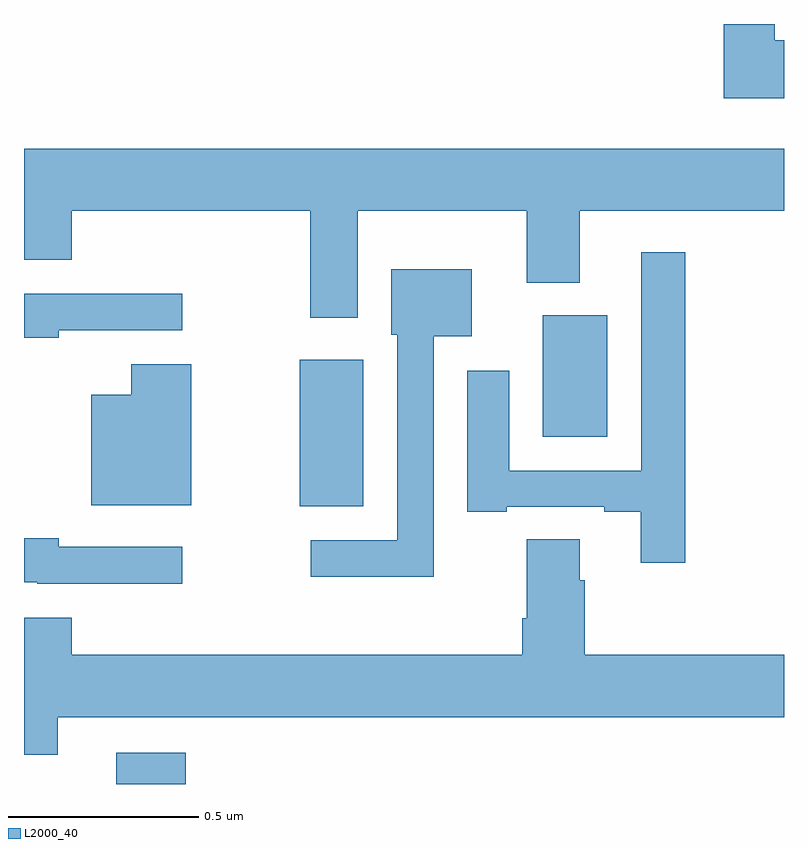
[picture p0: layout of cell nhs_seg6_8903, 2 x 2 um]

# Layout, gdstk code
import gdstk
lib = gdstk.Library(unit=1e-6, precision=1e-09)
def R(c, l, rs):  # rectangles x0, y0, x1, y1
    for r in rs: c.add(gdstk.rectangle(r[:2], r[2:], *l))
def P(c, l, *ps):  # polygons
    for p in ps: c.add(gdstk.Polygon(p, *l))
L2000_40 = (2000, 40)

nhs_seg6_8903 = lib.new_cell('nhs_seg6_8903')
R(nhs_seg6_8903, L2000_40, [(227.243,940.5,227.425,940.582), (227.726,941.231,227.893,941.617), (228.365,941.414,228.535,941.734)])
P(nhs_seg6_8903, L2000_40, [(229,942.457),(228.976,942.457),(228.976,942.5),(228.842,942.5),(228.842,942.305),(229,942.305)],
  [(227.878,942.008),(228.323,942.008),(228.323,941.819),(228.463,941.819),(228.463,942.008),(229,942.008),(229,942.172),(227,942.172),(227,941.88),(227.125,941.88),(227.125,942.008),(227.753,942.008),(227.753,941.727),(227.878,941.727)],
  [(228.74,941.899),(228.624,941.899),(228.624,941.325),(228.277,941.325),(228.277,941.587),(228.167,941.587),(228.167,941.217),(228.271,941.217),(228.271,941.229),(228.527,941.229),(228.527,941.217),(228.623,941.217),(228.623,941.082),(228.74,941.082)],
  [(228.078,941.678),(228.178,941.678),(228.178,941.854),(227.966,941.854),(227.966,941.682),(227.982,941.682),(227.982,941.142),(227.754,941.142),(227.754,941.045),(228.078,941.045)],
  [(227.092,941.694),(227.416,941.694),(227.416,941.79),(227,941.79),(227,941.674),(227.092,941.674)],
  [(227.44,941.605),(227.282,941.605),(227.282,941.524),(227.177,941.524),(227.177,941.234),(227.44,941.234)],
  [(227.416,941.124),(227.092,941.124),(227.092,941.147),(227,941.147),(227,941.031),(227.035,941.031),(227.035,941.027),(227.416,941.027)],
  [(227.089,940.676),(229,940.676),(229,940.84),(228.476,940.84),(228.476,941.036),(228.463,941.036),(228.463,941.144),(228.323,941.144),(228.323,940.936),(228.311,940.936),(228.311,940.84),(227.126,940.84),(227.126,940.938),(227,940.938),(227,940.577),(227.089,940.577)])

lib.write_gds('nhs_seg6_8903.gds')
